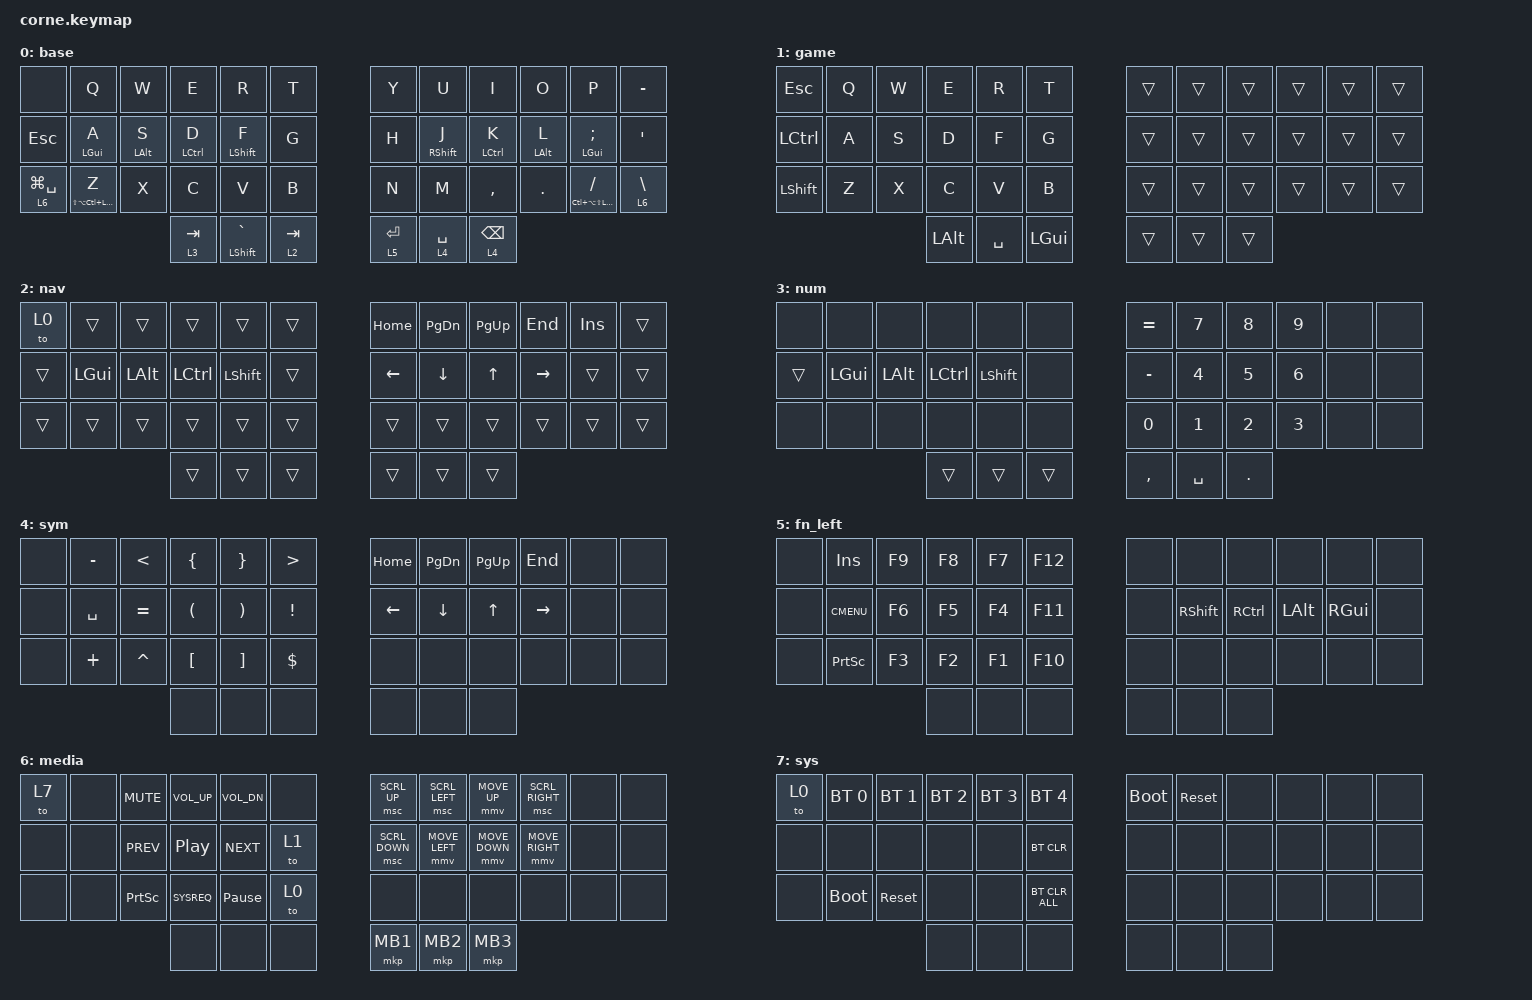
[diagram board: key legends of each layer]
#include <behaviors.dtsi>
#include <dt-bindings/zmk/bt.h>
#include <dt-bindings/zmk/keys.h>
#include <dt-bindings/zmk/pointing.h>

/ {
    behaviors {
        thl: thl {
            compatible = "zmk,behavior-hold-tap";
            label = "THL";
            bindings = <&kp>, <&kp>;

            #binding-cells = <2>;
            tapping-term-ms = <280>;
            quick-tap-ms = <0>;
            flavor = "balanced";
            hold-trigger-on-release;
            hold-trigger-key-positions = <6 7 8 9 11 10 18 19 20 21 22 23 30 31 32 33 34 35 39 40 41 36 37 38>;
        };

        mol: mol {
            compatible = "zmk,behavior-hold-tap";
            label = "MOL";
            bindings = <&mo>, <&kp>;

            #binding-cells = <2>;
            tapping-term-ms = <200>;
            quick-tap-ms = <0>;
            flavor = "hold-preferred";
            hold-trigger-on-release;
            hold-trigger-key-positions = <6 7 8 9 11 10 18 19 20 21 22 23 30 31 32 33 34 35 39 40 41 36 37 38>;
        };

        thr: thr {
            compatible = "zmk,behavior-hold-tap";
            label = "THR";
            bindings = <&kp>, <&kp>;

            #binding-cells = <2>;
            tapping-term-ms = <280>;
            quick-tap-ms = <0>;
            flavor = "balanced";
            hold-trigger-on-release;
            hold-trigger-key-positions = <0 1 2 3 4 5 12 13 14 15 16 17 24 25 26 27 28 29 36 37 38 39 40 41>;
        };

        mor: mor {
            compatible = "zmk,behavior-hold-tap";
            label = "MOR";
            bindings = <&mo>, <&kp>;

            #binding-cells = <2>;
            tapping-term-ms = <200>;
            quick-tap-ms = <0>;
            flavor = "hold-preferred";
            hold-trigger-on-release;
            hold-trigger-key-positions = <0 1 2 3 4 5 12 13 14 15 16 17 24 25 26 27 28 29 36 37 38 39 40 41>;
        };

        motog: motog {
            compatible = "zmk,behavior-hold-tap";
            label = "MOTOG";
            bindings = <&mo>, <&tog>;

            #binding-cells = <2>;
            tapping-term-ms = <200>;
        };
    };

    combos {
        compatible = "zmk,combos";

        backspace {
            bindings = <&kp BACKSPACE>;
            key-positions = <7 8>;
            require-prior-idle-ms = <50>;
        };

        delete {
            bindings = <&kp DELETE>;
            key-positions = <8 9>;
            require-prior-idle-ms = <50>;
        };

        left_bracket {
            bindings = <&kp LEFT_BRACKET>;
            key-positions = <31 32>;
        };

        right_bracket {
            bindings = <&kp RIGHT_BRACKET>;
            key-positions = <32 33>;
        };

        brackets {
            bindings = <&bkts>;
            key-positions = <31 32 33>;
        };
    };

    macros {
        bkts: bkts {
            compatible = "zmk,behavior-macro";
            #binding-cells = <0>;
            bindings =
                <&macro_tap>,
                <&kp LEFT_BRACKET>,
                <&macro_tap>,
                <&kp RIGHT_BRACKET>;
        };

        arrow: arrow {
            compatible = "zmk,behavior-macro";
            #binding-cells = <0>;
            bindings =
                <&macro_tap>,
                <&kp EQUAL>,
                <&macro_tap>,
                <&kp LS(PERIOD)>;
        };

        arrow_fn: arrow_fn {
            compatible = "zmk,behavior-macro";
            #binding-cells = <0>;
            bindings =
                <&macro_tap>,
                <&kp LS(NUMBER_9)>,
                <&macro_tap>,
                <&kp LS(NUMBER_0)>,
                <&macro_tap>,
                <&kp SPACE>,
                <&macro_tap>,
                <&kp EQUAL>,
                <&macro_tap>,
                <&kp LS(PERIOD)>,
                <&macro_tap>,
                <&kp SPACE>,
                <&macro_tap>,
                <&kp LS(LEFT_BRACKET)>,
                <&macro_tap>,
                <&kp LS(RIGHT_BRACKET)>;
        };
    };

    keymap {
        compatible = "zmk,keymap";

        base {
            display-name = "base";
            bindings = <
&none             &kp Q                    &kp W        &kp E         &kp R            &kp T         &kp Y       &kp U         &kp I            &kp O        &kp P                       &kp MINUS
&kp ESCAPE        &thl LEFT_GUI A          &thl LALT S  &thl LCTRL D  &thl LSHFT F     &kp G         &kp H       &thr RSHFT J  &thr LCTRL K     &thr LALT L  &thr LGUI SEMI              &kp SQT
&mol 6 LG(SPACE)  &thl LS(LA(LC(LGUI))) Z  &kp X        &kp C         &kp V            &kp B         &kp N       &kp M         &kp COMMA        &kp PERIOD   &thr LC(LA(LS(LGUI))) FSLH  &mol 6 BACKSLASH
                                                        &mol 3 TAB    &mt LSHFT GRAVE  &mol 2 TAB    &mor 5 RET  &mor 4 SPACE  &lt 4 BACKSPACE
            >;

            label = "base";
        };

        game {
            bindings = <
&kp ESC    &kp Q  &kp W  &kp E     &kp R      &kp T       &trans  &trans  &trans  &trans  &trans  &trans
&kp LCTRL  &kp A  &kp S  &kp D     &kp F      &kp G       &trans  &trans  &trans  &trans  &trans  &trans
&kp LSHFT  &kp Z  &kp X  &kp C     &kp V      &kp B       &trans  &trans  &trans  &trans  &trans  &trans
                         &kp LALT  &kp SPACE  &kp LGUI    &trans  &trans  &trans
            >;

            label = "game";
        };

        nav {
            display-name = "nav";
            bindings = <
&to 0   &trans    &trans    &trans     &trans     &trans    &kp HOME        &kp PAGE_DOWN   &kp PAGE_UP   &kp END          &kp INSERT  &trans
&trans  &kp LGUI  &kp LALT  &kp LCTRL  &kp LSHFT  &trans    &kp LEFT_ARROW  &kp DOWN_ARROW  &kp UP_ARROW  &kp RIGHT_ARROW  &trans      &trans
&trans  &trans    &trans    &trans     &trans     &trans    &trans          &trans          &trans        &trans           &trans      &trans
                            &trans     &trans     &trans    &trans          &trans          &trans
            >;

            label = "nav";
        };

        num {
            display-name = "num";
            bindings = <
&none   &none     &none     &none      &none      &none     &kp EQUAL     &kp N7     &kp N8   &kp N9  &none  &none
&trans  &kp LGUI  &kp LALT  &kp LCTRL  &kp LSHFT  &none     &kp MINUS     &kp N4     &kp N5   &kp N6  &none  &none
&none   &none     &none     &none      &none      &none     &kp NUMBER_0  &kp N1     &kp N2   &kp N3  &none  &none
                            &trans     &trans     &trans    &kp COMMA     &kp SPACE  &kp DOT
            >;

            label = "num";
        };

        sym {
            bindings = <
&none  &kp MINUS  &kp LT     &kp LBRC  &kp RBRC  &kp GT      &kp HOME  &kp PG_DN  &kp PG_UP  &kp END    &none  &none
&none  &kp SPACE  &kp EQUAL  &kp LPAR  &kp RPAR  &kp EXCL    &kp LEFT  &kp DOWN   &kp UP     &kp RIGHT  &none  &none
&none  &kp PLUS   &kp CARET  &kp LBKT  &kp RBKT  &kp DLLR    &none     &none      &none      &none      &none  &none
                             &none     &none     &none       &none     &none      &none
            >;

            label = "sym";
        };

        fn_left {
            display-name = "fn_left";
            bindings = <
&none  &kp INS          &kp F9  &kp F8  &kp F7  &kp F12    &none  &none      &none      &none     &none     &none
&none  &kp K_CMENU      &kp F6  &kp F5  &kp F4  &kp F11    &none  &kp RSHFT  &kp RCTRL  &kp LALT  &kp RGUI  &none
&none  &kp PRINTSCREEN  &kp F3  &kp F2  &kp F1  &kp F10    &none  &none      &none      &none     &none     &none
                                &none   &none   &none      &none  &none      &none
            >;

            label = "fn_left";
        };

        media {
            display-name = "media";
            bindings = <
&to 7  &none  &kp C_MUTE       &kp C_VOL_UP  &kp C_VOL_DN     &none    &msc SCRL_UP    &msc SCRL_LEFT  &mmv MOVE_UP    &msc SCRL_RIGHT  &none  &none
&none  &none  &kp C_PREV       &kp C_PP      &kp C_NEXT       &to 1    &msc SCRL_DOWN  &mmv MOVE_LEFT  &mmv MOVE_DOWN  &mmv MOVE_RIGHT  &none  &none
&none  &none  &kp PRINTSCREEN  &kp SYSREQ    &kp PAUSE_BREAK  &to 0    &none           &none           &none           &none            &none  &none
                               &none         &none            &none    &mkp MB1        &mkp MB2        &mkp MB3
            >;

            label = "media";
        };

        sys {
            bindings = <
&to 0  &bt BT_SEL 0  &bt BT_SEL 1  &bt BT_SEL 2  &bt BT_SEL 3  &bt BT_SEL 4      &bootloader  &sys_reset  &none  &none  &none  &none
&none  &none         &none         &none         &none         &bt BT_CLR        &none        &none       &none  &none  &none  &none
&none  &bootloader   &sys_reset    &none         &none         &bt BT_CLR_ALL    &none        &none       &none  &none  &none  &none
                                   &none         &none         &none             &none        &none       &none
            >;

            label = "sys";
        };
    };
};
